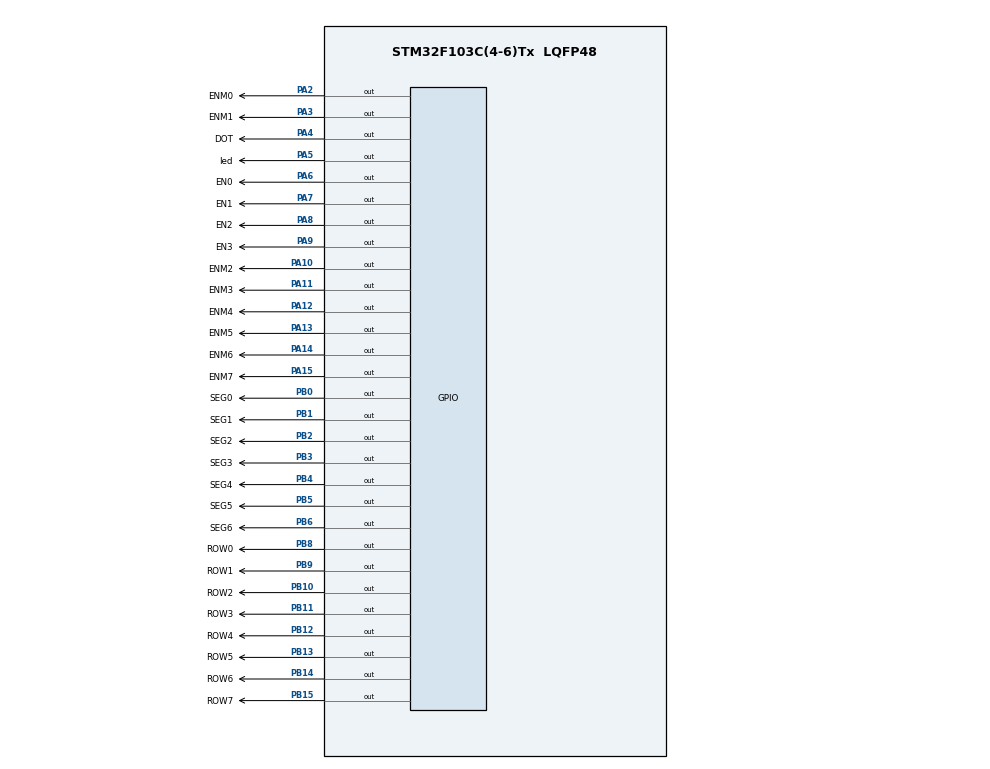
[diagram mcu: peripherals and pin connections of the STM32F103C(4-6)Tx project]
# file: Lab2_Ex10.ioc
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Mcu.Family=STM32F1
Mcu.Name=STM32F103C(4-6)Tx
Mcu.Package=LQFP48
NVIC.PriorityGroup=NVIC_PRIORITYGROUP_4
NVIC.TIM2_IRQn=true\:0\:0\:false\:false\:true\:true\:true
PA10.GPIO_Label=ENM2
PA10.Signal=GPIO_Output
PA11.GPIO_Label=ENM3
PA11.Signal=GPIO_Output
PA12.GPIO_Label=ENM4
PA12.Signal=GPIO_Output
PA13.GPIO_Label=ENM5
PA13.Signal=GPIO_Output
PA14.GPIO_Label=ENM6
PA14.Signal=GPIO_Output
PA15.GPIO_Label=ENM7
PA15.Signal=GPIO_Output
PA2.GPIO_Label=ENM0
PA2.Signal=GPIO_Output
PA3.GPIO_Label=ENM1
PA3.Signal=GPIO_Output
PA4.GPIO_Label=DOT
PA4.Signal=GPIO_Output
PA5.GPIO_Label=led
PA5.Signal=GPIO_Output
PA6.GPIO_Label=EN0
PA6.Signal=GPIO_Output
PA7.GPIO_Label=EN1
PA7.Signal=GPIO_Output
PA8.GPIO_Label=EN2
PA8.Signal=GPIO_Output
PA9.GPIO_Label=EN3
PA9.Signal=GPIO_Output
PB0.GPIO_Label=SEG0
PB0.Signal=GPIO_Output
PB1.GPIO_Label=SEG1
PB1.Signal=GPIO_Output
PB10.GPIO_Label=ROW2
PB10.Signal=GPIO_Output
PB11.GPIO_Label=ROW3
PB11.Signal=GPIO_Output
PB12.GPIO_Label=ROW4
PB12.Signal=GPIO_Output
PB13.GPIO_Label=ROW5
PB13.Signal=GPIO_Output
PB14.GPIO_Label=ROW6
PB14.Signal=GPIO_Output
PB15.GPIO_Label=ROW7
PB15.Signal=GPIO_Output
PB2.GPIO_Label=SEG2
PB2.Signal=GPIO_Output
PB3.GPIO_Label=SEG3
PB3.Signal=GPIO_Output
PB4.GPIO_Label=SEG4
PB4.Signal=GPIO_Output
PB5.GPIO_Label=SEG5
PB5.Signal=GPIO_Output
PB6.GPIO_Label=SEG6
PB6.Signal=GPIO_Output
PB8.GPIO_Label=ROW0
PB8.Signal=GPIO_Output
PB9.GPIO_Label=ROW1
PB9.Signal=GPIO_Output
ProjectManager.HeapSize=0x200
ProjectManager.StackSize=0x400
ProjectManager.TargetToolchain=STM32CubeIDE
RCC.APB1Freq_Value=8000000
RCC.APB2Freq_Value=8000000
TIM2.Period=1
TIM2.Prescaler=7999
VP_SYS_VS_ND.Mode=No_Debug
VP_TIM2_VS_ClockSourceINT.Mode=Internal
board=custom

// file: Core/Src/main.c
/* USER CODE BEGIN Header */
/**
  ******************************************************************************
  * @file           : main.c
  * @brief          : Main program body
  ******************************************************************************
  * @attention
  *
  * <h2><center>&copy; Copyright (c) 2021 STMicroelectronics.
  * All rights reserved.</center></h2>
  *
  * This software component is licensed by ST under BSD 3-Clause license,
  * the "License"; You may not use this file except in compliance with the
  * License. You may obtain a copy of the License at:
  *                        opensource.org/licenses/BSD-3-Clause
  *
  ******************************************************************************
  */
/* USER CODE END Header */
#include "main.h"

TIM_HandleTypeDef htim2;

void SystemClock_Config(void);
static void MX_GPIO_Init(void);
static void MX_TIM2_Init(void);

/* USER CODE BEGIN 0 */
const int MAX_LED_MATRIX = 8;
int index_led_matrix = 0;
int state = 0;
uint8_t matrix_buffer[8] = {0x01,0x01,0x01,0x01,0x01,0x01,0x01,0x01};
uint8_t matrix[46][8] = {
		//H - character
		{0x01,0x01,0x01,0x01,0x01,0x01,0x01,0x01},
		{0x02,0x02,0x02,0x03,0x02,0x02,0x02,0x02},
		{0x04,0x04,0x04,0x07,0x04,0x04,0x04,0x04},
		{0x08,0x08,0x08,0x0f,0x08,0x08,0x08,0x08},
		{0x10,0x10,0x10,0x1f,0x10,0x10,0x10,0x10},
		{0x21,0x21,0x21,0x3f,0x21,0x21,0x21,0x21},
		{0x42,0x42,0x42,0x7e,0x42,0x42,0x42,0x42},
		{0x84,0x84,0x84,0xfc,0x84,0x84,0x84,0x84},
		{0x08,0x08,0x08,0xf8,0x08,0x08,0x08,0x08},
		{0x10,0x10,0x10,0xf0,0x10,0x10,0x10,0x10},
		{0x20,0x20,0x20,0xe0,0x20,0x20,0x20,0x20},
		{0x40,0x40,0x40,0xc0,0x40,0x40,0x40,0x40},
		{0x81,0x81,0x81,0x81,0x81,0x81,0x81,0x81},//starting of P
		{0x03,0x02,0x02,0x02,0x03,0x02,0x02,0x02},
		{0x07,0x04,0x04,0x04,0x07,0x04,0x04,0x04},
		{0x0f,0x08,0x08,0x08,0x0f,0x08,0x08,0x08},
		{0x1e,0x11,0x11,0x11,0x1e,0x10,0x10,0x10},
		{0x3c,0x22,0x22,0x22,0x3c,0x20,0x20,0x20},
		{0x78,0x44,0x44,0x44,0x78,0x40,0x40,0x40},
		{0xf0,0x88,0x88,0x88,0xf0,0x80,0x80,0x80},
		{0xe0,0x10,0x10,0x10,0xe0,0x00,0x00,0x00},
		{0xc0,0x20,0x20,0x20,0xc0,0x00,0x00,0x00},
		{0x01,0x81,0x81,0x81,0x01,0x01,0x01,0x00},//starting of B
		{0x01,0x01,0x01,0x01,0x01,0x01,0x01,0x00},
		{0x03,0x02,0x02,0x03,0x02,0x02,0x03,0x00},
		{0x07,0x04,0x04,0x07,0x04,0x04,0x07,0x00},
		{0x0f,0x08,0x08,0x0f,0x08,0x08,0x0f,0x00},
		{0x1e,0x11,0x11,0x1e,0x11,0x11,0x1e,0x00},
		{0x3c,0x22,0x22,0x3c,0x22,0x22,0x3c,0x00},
		{0x78,0x44,0x44,0x78,0x44,0x44,0x78,0x00},
		{0xf0,0x88,0x88,0xf0,0x88,0x88,0xf0,0x00},
		{0xe0,0x10,0x10,0xe0,0x10,0x10,0xe0,0x00},
		{0xc0,0x20,0x20,0xc0,0x20,0x20,0xc0,0x00},
		{0x80,0x40,0x40,0x80,0x40,0x40,0x80,0x00},
		{0x01,0x81,0x81,0x01,0x81,0x81,0x01,0x01},//starting of D
		{0x03,0x02,0x02,0x02,0x02,0x02,0x02,0x03},
		{0x07,0x04,0x04,0x04,0x04,0x04,0x04,0x07},
		{0x0f,0x08,0x08,0x08,0x08,0x08,0x08,0x0f},
		{0x1e,0x11,0x10,0x10,0x10,0x10,0x11,0x1e},
		{0x3c,0x22,0x21,0x21,0x21,0x21,0x22,0x3c},
		{0x78,0x44,0x42,0x42,0x42,0x42,0x44,0x78},
		{0xf0,0x88,0x84,0x84,0x84,0x84,0x88,0xf0},
		{0xe0,0x10,0x08,0x08,0x08,0x08,0x10,0xe0},
		{0xc0,0x20,0x10,0x10,0x10,0x10,0x20,0xc0},
		{0x80,0x40,0x20,0x20,0x20,0x20,0x40,0x80},
		{0x00,0x80,0x40,0x40,0x40,0x40,0x80,0x00}
};

void selectCOL(int col){
	switch(col){
	case 0:
		 HAL_GPIO_WritePin(ENM0_GPIO_Port, ENM0_Pin, GPIO_PIN_RESET);
			break;
	case 1:
		 HAL_GPIO_WritePin(ENM1_GPIO_Port, ENM1_Pin, GPIO_PIN_RESET);
			break;
	case 2:
		 HAL_GPIO_WritePin(ENM2_GPIO_Port, ENM2_Pin, GPIO_PIN_RESET);
			break;
	case 3:
		 HAL_GPIO_WritePin(ENM3_GPIO_Port, ENM3_Pin, GPIO_PIN_RESET);
			break;
	case 4:
		 HAL_GPIO_WritePin(ENM4_GPIO_Port, ENM4_Pin, GPIO_PIN_RESET);
			break;
	case 5:
		 HAL_GPIO_WritePin(ENM5_GPIO_Port, ENM5_Pin, GPIO_PIN_RESET);
			break;
	case 6:
		 HAL_GPIO_WritePin(ENM6_GPIO_Port, ENM6_Pin, GPIO_PIN_RESET);
			break;
	case 7:
		 HAL_GPIO_WritePin(ENM7_GPIO_Port, ENM7_Pin, GPIO_PIN_RESET);
			break;
	default: break;
	}
}
void clearCOL(int col){
	switch(col){
		case 0:
			 HAL_GPIO_WritePin(ENM0_GPIO_Port, ENM0_Pin, GPIO_PIN_SET);
				break;
		case 1:
			 HAL_GPIO_WritePin(ENM1_GPIO_Port, ENM1_Pin, GPIO_PIN_SET);
				break;
		case 2:
			 HAL_GPIO_WritePin(ENM2_GPIO_Port, ENM2_Pin, GPIO_PIN_SET);
				break;
		case 3:
			 HAL_GPIO_WritePin(ENM3_GPIO_Port, ENM3_Pin, GPIO_PIN_SET);
				break;
		case 4:
			 HAL_GPIO_WritePin(ENM4_GPIO_Port, ENM4_Pin, GPIO_PIN_SET);
				break;
		case 5:
			 HAL_GPIO_WritePin(ENM5_GPIO_Port, ENM5_Pin, GPIO_PIN_SET);
				break;
		case 6:
			 HAL_GPIO_WritePin(ENM6_GPIO_Port, ENM6_Pin, GPIO_PIN_SET);
				break;
		case 7:
			 HAL_GPIO_WritePin(ENM7_GPIO_Port, ENM7_Pin, GPIO_PIN_SET);
				break;
		default: break;
		}
}

void displayDOT(uint8_t num, int row){
	switch(row){
	case 0:
			for(int i = 0; i<8; i++){
				if(num&0x80){
					selectCOL(i);
				}
				 num = num<<1;

			}
			HAL_GPIO_WritePin(ROW0_GPIO_Port, ROW0_Pin, GPIO_PIN_RESET);
			break;
	case 1:
		for(int i = 0; i<8; i++){
			if(num&0x80){
				selectCOL(i);
			}
			 num = num<<1;

		}
		HAL_GPIO_WritePin(ROW1_GPIO_Port, ROW1_Pin, GPIO_PIN_RESET);
			break;
	case 2:
		for(int i = 0; i<8; i++){
			if(num&0x80){
				selectCOL(i);
			}
			 num = num<<1;
		}
		HAL_GPIO_WritePin(ROW2_GPIO_Port, ROW2_Pin, GPIO_PIN_RESET);
			break;
	case 3:
		for(int i = 0; i<8; i++){
			if(num&0x80){
				selectCOL(i);
			}
			 num = num<<1;

		}
		HAL_GPIO_WritePin(ROW3_GPIO_Port, ROW3_Pin, GPIO_PIN_RESET);
			break;
	case 4:
		for(int i = 0; i<8; i++){
			if(num&0x80){
				selectCOL(i);
			}
			 num = num<<1;

		}
		HAL_GPIO_WritePin(ROW4_GPIO_Port, ROW4_Pin, GPIO_PIN_RESET);
			break;
	case 5:
		for(int i = 0; i<8; i++){
			if(num&0x80){
				selectCOL(i);
			}
			 num = num<<1;

		}
		HAL_GPIO_WritePin(ROW5_GPIO_Port, ROW5_Pin, GPIO_PIN_RESET);
			break;
	case 6:
		for(int i = 0; i<8; i++){
			if(num&0x80){
				selectCOL(i);
			}
			 num = num<<1;

		}
		HAL_GPIO_WritePin(ROW6_GPIO_Port, ROW6_Pin, GPIO_PIN_RESET);
			break;
	case 7:
		for(int i = 0; i<8; i++){
			if(num&0x80){
				selectCOL(i);
			}
			 num = num<<1;

		}
		HAL_GPIO_WritePin(ROW7_GPIO_Port, ROW7_Pin, GPIO_PIN_RESET);
			break;
	default: break;
	}
}
void updateMatrixBuffer(int state){
	matrix_buffer[0] = matrix[state][0];
	matrix_buffer[1] = matrix[state][1];
	matrix_buffer[2] = matrix[state][2];
	matrix_buffer[3] = matrix[state][3];
	matrix_buffer[4] = matrix[state][4];
	matrix_buffer[5] = matrix[state][5];
	matrix_buffer[6] = matrix[state][6];
	matrix_buffer[7] = matrix[state][7];
}
void updateLEDMatrix (int row) {
	 switch ( row ) {
		case 0:
			displayDOT(matrix_buffer[0],row);
			break ;
		 case 1:
			 displayDOT(matrix_buffer[1],row);
			 break ;
		case 2:
			displayDOT(matrix_buffer[2],row);
			break ;
		 case 3:
			 displayDOT(matrix_buffer[3],row);
			 break ;
		 case 4:
			 displayDOT(matrix_buffer[4],row);
			 break ;
		 case 5:
			 displayDOT(matrix_buffer[5],row);
			 break ;
		 case 6:
			 displayDOT(matrix_buffer[6],row);
			 break ;
		 case 7:
			 displayDOT(matrix_buffer[7],row);
			 break ;
		 default :
			 break ;
	 }
 }

void clearDOT(uint8_t num, int row){

	switch(row){
		case 0:
			HAL_GPIO_WritePin(ROW0_GPIO_Port, ROW0_Pin, GPIO_PIN_SET);
				for(int i = 0; i<8; i++){
					if(num&0x80){
						clearCOL(i);
					}
					 num = num<<1;

				}

				break;
		case 1:
			HAL_GPIO_WritePin(ROW1_GPIO_Port, ROW1_Pin, GPIO_PIN_SET);
			for(int i = 0; i<8; i++){
				if(num&0x80){
					clearCOL(i);
				}
				 num = num<<1;

			}

				break;
		case 2:
			HAL_GPIO_WritePin(ROW2_GPIO_Port, ROW2_Pin, GPIO_PIN_SET);
			for(int i = 0; i<8; i++){
				if(num&0x80){
					clearCOL(i);
				}
				 num = num<<1;
			}
			//HAL_GPIO_WritePin(ROW2_GPIO_Port, ROW2_Pin, GPIO_PIN_SET);
				break;
		case 3:
			HAL_GPIO_WritePin(ROW3_GPIO_Port, ROW3_Pin, GPIO_PIN_SET);
			for(int i = 0; i<8; i++){
				if(num&0x80){
					clearCOL(i);
				}
				 num = num<<1;

			}
			//HAL_GPIO_WritePin(ROW3_GPIO_Port, ROW3_Pin, GPIO_PIN_SET);
				break;
		case 4:
			HAL_GPIO_WritePin(ROW4_GPIO_Port, ROW4_Pin, GPIO_PIN_SET);
			for(int i = 0; i<8; i++){
				if(num&0x80){
					clearCOL(i);
				}
				 num = num<<1;

			}

				break;
		case 5:
			HAL_GPIO_WritePin(ROW5_GPIO_Port, ROW5_Pin, GPIO_PIN_SET);
			for(int i = 0; i<8; i++){
				if(num&0x80){
					clearCOL(i);
				}
				 num = num<<1;

			}

				break;
		case 6:
			HAL_GPIO_WritePin(ROW6_GPIO_Port, ROW6_Pin, GPIO_PIN_SET);
			for(int i = 0; i<8; i++){
				if(num&0x80){
					clearCOL(i);
				}
				 num = num<<1;

			}
			//HAL_GPIO_WritePin(ROW6_GPIO_Port, ROW6_Pin, GPIO_PIN_SET);
				break;
		case 7:
			HAL_GPIO_WritePin(ROW7_GPIO_Port, ROW7_Pin, GPIO_PIN_SET);
			for(int i = 0; i<8; i++){
				if(num&0x80){
					clearCOL(i);
				}
				 num = num<<1;

			}
			//HAL_GPIO_WritePin(ROW7_GPIO_Port, ROW7_Pin, GPIO_PIN_SET);
				break;
		default: break;
		}
}
void clearAllPins(){
	  HAL_GPIO_WritePin(ROW0_GPIO_Port, ROW0_Pin, GPIO_PIN_SET);
	  HAL_GPIO_WritePin(ROW1_GPIO_Port, ROW1_Pin, GPIO_PIN_SET);
	  HAL_GPIO_WritePin(ROW2_GPIO_Port, ROW2_Pin, GPIO_PIN_SET);
	  HAL_GPIO_WritePin(ROW3_GPIO_Port, ROW3_Pin, GPIO_PIN_SET);
	  HAL_GPIO_WritePin(ROW4_GPIO_Port, ROW4_Pin, GPIO_PIN_SET);
	  HAL_GPIO_WritePin(ROW5_GPIO_Port, ROW5_Pin, GPIO_PIN_SET);
	  HAL_GPIO_WritePin(ROW6_GPIO_Port, ROW6_Pin, GPIO_PIN_SET);
	  HAL_GPIO_WritePin(ROW7_GPIO_Port, ROW7_Pin, GPIO_PIN_SET);

	  HAL_GPIO_WritePin(ENM0_GPIO_Port, ENM0_Pin, GPIO_PIN_SET);
	  HAL_GPIO_WritePin(ENM1_GPIO_Port, ENM1_Pin, GPIO_PIN_SET);
	  HAL_GPIO_WritePin(ENM2_GPIO_Port, ENM2_Pin, GPIO_PIN_SET);
	  HAL_GPIO_WritePin(ENM3_GPIO_Port, ENM3_Pin, GPIO_PIN_SET);
	  HAL_GPIO_WritePin(ENM4_GPIO_Port, ENM4_Pin, GPIO_PIN_SET);
	  HAL_GPIO_WritePin(ENM5_GPIO_Port, ENM5_Pin, GPIO_PIN_SET);
	  HAL_GPIO_WritePin(ENM6_GPIO_Port, ENM6_Pin, GPIO_PIN_SET);
	  HAL_GPIO_WritePin(ENM7_GPIO_Port, ENM7_Pin, GPIO_PIN_SET);
}

int segcount = 0;
int timer0_counter = 0;
int timer0_flag = 0;
int timer1_flag = 0;
int TIMER_CYCLE = 1;
void setTimer0 ( int duration ) {
	 timer0_counter = duration / TIMER_CYCLE ;
	 timer0_flag = 0;
}

void timer_run () {
	 if( timer0_counter > 0) {
		 timer0_counter--;
		 if( timer0_counter == 0) timer0_flag = 1;
	 }
	 if( segcount > 0) {
	 		 segcount--;
	 		 if( segcount == 0) timer1_flag = 1;
	 	 }
	 if(timer2_counter>0){
		 timer2_couter--;
		 if(timer2_counter == 0) timer2_flag = 1;
	 }
 }

//SEGMENT 7 LED-------------------------------------------------------
void display7SEG(int num){
	switch(num){
	case 0:
		HAL_GPIO_WritePin(SEG0_GPIO_Port, SEG0_Pin, GPIO_PIN_RESET);
		HAL_GPIO_WritePin(SEG1_GPIO_Port, SEG1_Pin, GPIO_PIN_RESET);
		HAL_GPIO_WritePin(SEG2_GPIO_Port, SEG2_Pin, GPIO_PIN_RESET);
		HAL_GPIO_WritePin(SEG3_GPIO_Port, SEG3_Pin, GPIO_PIN_RESET);
		HAL_GPIO_WritePin(SEG4_GPIO_Port, SEG4_Pin, GPIO_PIN_RESET);
		HAL_GPIO_WritePin(SEG5_GPIO_Port, SEG5_Pin, GPIO_PIN_RESET);
		HAL_GPIO_WritePin(SEG6_GPIO_Port, SEG6_Pin, GPIO_PIN_SET);
		break;
	case 1:
		HAL_GPIO_WritePin(SEG0_GPIO_Port, SEG0_Pin, GPIO_PIN_SET);
		HAL_GPIO_WritePin(SEG1_GPIO_Port, SEG1_Pin, GPIO_PIN_RESET);
		HAL_GPIO_WritePin(SEG2_GPIO_Port, SEG2_Pin, GPIO_PIN_RESET);
		HAL_GPIO_WritePin(SEG3_GPIO_Port, SEG3_Pin, GPIO_PIN_SET);
		HAL_GPIO_WritePin(SEG4_GPIO_Port, SEG4_Pin, GPIO_PIN_SET);
		HAL_GPIO_WritePin(SEG5_GPIO_Port, SEG5_Pin, GPIO_PIN_SET);
		HAL_GPIO_WritePin(SEG6_GPIO_Port, SEG6_Pin, GPIO_PIN_SET);
		break;
	case 2:
		HAL_GPIO_WritePin(SEG0_GPIO_Port, SEG0_Pin, GPIO_PIN_RESET);
		HAL_GPIO_WritePin(SEG1_GPIO_Port, SEG1_Pin, GPIO_PIN_RESET);
		HAL_GPIO_WritePin(SEG2_GPIO_Port, SEG2_Pin, GPIO_PIN_SET);
		HAL_GPIO_WritePin(SEG3_GPIO_Port, SEG3_Pin, GPIO_PIN_RESET);
		HAL_GPIO_WritePin(SEG4_GPIO_Port, SEG4_Pin, GPIO_PIN_RESET);
		HAL_GPIO_WritePin(SEG5_GPIO_Port, SEG5_Pin, GPIO_PIN_SET);
		HAL_GPIO_WritePin(SEG6_GPIO_Port, SEG6_Pin, GPIO_PIN_RESET);
		break;
	case 3:
		HAL_GPIO_WritePin(SEG0_GPIO_Port, SEG0_Pin, GPIO_PIN_RESET);
		HAL_GPIO_WritePin(SEG1_GPIO_Port, SEG1_Pin, GPIO_PIN_RESET);
		HAL_GPIO_WritePin(SEG2_GPIO_Port, SEG2_Pin, GPIO_PIN_RESET);
		HAL_GPIO_WritePin(SEG3_GPIO_Port, SEG3_Pin, GPIO_PIN_RESET);
		HAL_GPIO_WritePin(SEG4_GPIO_Port, SEG4_Pin, GPIO_PIN_SET);
		HAL_GPIO_WritePin(SEG5_GPIO_Port, SEG5_Pin, GPIO_PIN_SET);
		HAL_GPIO_WritePin(SEG6_GPIO_Port, SEG6_Pin, GPIO_PIN_RESET);
		break;
	case 4:
		HAL_GPIO_WritePin(SEG0_GPIO_Port, SEG0_Pin, GPIO_PIN_SET);
		HAL_GPIO_WritePin(SEG1_GPIO_Port, SEG1_Pin, GPIO_PIN_RESET);
		HAL_GPIO_WritePin(SEG2_GPIO_Port, SEG2_Pin, GPIO_PIN_RESET);
		HAL_GPIO_WritePin(SEG3_GPIO_Port, SEG3_Pin, GPIO_PIN_SET);
		HAL_GPIO_WritePin(SEG4_GPIO_Port, SEG4_Pin, GPIO_PIN_SET);
		HAL_GPIO_WritePin(SEG5_GPIO_Port, SEG5_Pin, GPIO_PIN_RESET);
		HAL_GPIO_WritePin(SEG6_GPIO_Port, SEG6_Pin, GPIO_PIN_RESET);
		break;
	case 5:
		HAL_GPIO_WritePin(SEG0_GPIO_Port, SEG0_Pin, GPIO_PIN_RESET);
		HAL_GPIO_WritePin(SEG1_GPIO_Port, SEG1_Pin, GPIO_PIN_SET);
		HAL_GPIO_WritePin(SEG2_GPIO_Port, SEG2_Pin, GPIO_PIN_RESET);
		HAL_GPIO_WritePin(SEG3_GPIO_Port, SEG3_Pin, GPIO_PIN_RESET);
		HAL_GPIO_WritePin(SEG4_GPIO_Port, SEG4_Pin, GPIO_PIN_SET);
		HAL_GPIO_WritePin(SEG5_GPIO_Port, SEG5_Pin, GPIO_PIN_RESET);
		HAL_GPIO_WritePin(SEG6_GPIO_Port, SEG6_Pin, GPIO_PIN_RESET);
		break;
	case 6:
		HAL_GPIO_WritePin(SEG0_GPIO_Port, SEG0_Pin, GPIO_PIN_RESET);
		HAL_GPIO_WritePin(SEG1_GPIO_Port, SEG1_Pin, GPIO_PIN_SET);
		HAL_GPIO_WritePin(SEG2_GPIO_Port, SEG2_Pin, GPIO_PIN_RESET);
		HAL_GPIO_WritePin(SEG3_GPIO_Port, SEG3_Pin, GPIO_PIN_RESET);
		HAL_GPIO_WritePin(SEG4_GPIO_Port, SEG4_Pin, GPIO_PIN_RESET);
		HAL_GPIO_WritePin(SEG5_GPIO_Port, SEG5_Pin, GPIO_PIN_RESET);
		HAL_GPIO_WritePin(SEG6_GPIO_Port, SEG6_Pin, GPIO_PIN_RESET);
		break;
	case 7:
		HAL_GPIO_WritePin(SEG0_GPIO_Port, SEG0_Pin, GPIO_PIN_RESET);
		HAL_GPIO_WritePin(SEG1_GPIO_Port, SEG1_Pin, GPIO_PIN_RESET);
		HAL_GPIO_WritePin(SEG2_GPIO_Port, SEG2_Pin, GPIO_PIN_RESET);
		HAL_GPIO_WritePin(SEG3_GPIO_Port, SEG3_Pin, GPIO_PIN_SET);
		HAL_GPIO_WritePin(SEG4_GPIO_Port, SEG4_Pin, GPIO_PIN_SET);
		HAL_GPIO_WritePin(SEG5_GPIO_Port, SEG5_Pin, GPIO_PIN_SET);
		HAL_GPIO_WritePin(SEG6_GPIO_Port, SEG6_Pin, GPIO_PIN_SET);
		break;
	case 8:
		HAL_GPIO_WritePin(SEG0_GPIO_Port, SEG0_Pin, GPIO_PIN_RESET);
		HAL_GPIO_WritePin(SEG1_GPIO_Port, SEG1_Pin, GPIO_PIN_RESET);
		HAL_GPIO_WritePin(SEG2_GPIO_Port, SEG2_Pin, GPIO_PIN_RESET);
		HAL_GPIO_WritePin(SEG3_GPIO_Port, SEG3_Pin, GPIO_PIN_RESET);
		HAL_GPIO_WritePin(SEG4_GPIO_Port, SEG4_Pin, GPIO_PIN_RESET);
		HAL_GPIO_WritePin(SEG5_GPIO_Port, SEG5_Pin, GPIO_PIN_RESET);
		HAL_GPIO_WritePin(SEG6_GPIO_Port, SEG6_Pin, GPIO_PIN_RESET);
		break;
	case 9:
		HAL_GPIO_WritePin(SEG0_GPIO_Port, SEG0_Pin, GPIO_PIN_RESET);
		HAL_GPIO_WritePin(SEG1_GPIO_Port, SEG1_Pin, GPIO_PIN_RESET);
		HAL_GPIO_WritePin(SEG2_GPIO_Port, SEG2_Pin, GPIO_PIN_RESET);
		HAL_GPIO_WritePin(SEG3_GPIO_Port, SEG3_Pin, GPIO_PIN_RESET);
		HAL_GPIO_WritePin(SEG4_GPIO_Port, SEG4_Pin, GPIO_PIN_SET);
		HAL_GPIO_WritePin(SEG5_GPIO_Port, SEG5_Pin, GPIO_PIN_RESET);
		HAL_GPIO_WritePin(SEG6_GPIO_Port, SEG6_Pin, GPIO_PIN_RESET);
		break;
	}

}
const int MAX_LED = 4;
 int index_led = 0;
 int led_buffer[4] = {1 , 9 , 0 , 5};
 void setTimer1 ( int duration ) {
 	 segcount = duration / MAX_LED;
 	 timer1_flag = 0;
 }
 int timer2_flag = 0;
 int timer2_counter = 0;
 void setTimer2( int duration ){
	 timer2_counter = duration / TIMER_CYCLE;
  	 timer2_flag = 0;
  }
 void update7SEG ( int index ) {
 switch ( index ) {
	 case 0:
	 // Display the first 7 SEG with led_buffer [0]
		 HAL_GPIO_WritePin(EN0_GPIO_Port, EN0_Pin,  GPIO_PIN_RESET);
		 HAL_GPIO_WritePin(EN1_GPIO_Port, EN1_Pin,  GPIO_PIN_SET);
		 HAL_GPIO_WritePin(EN2_GPIO_Port, EN2_Pin,  GPIO_PIN_SET);
		 HAL_GPIO_WritePin(EN3_GPIO_Port, EN3_Pin,  GPIO_PIN_SET);
		 display7SEG(led_buffer[0]);
		 break ;
	 case 1:
	 // Display the second 7 SEG with led_buffer [1]
		 HAL_GPIO_WritePin(EN0_GPIO_Port, EN0_Pin,  GPIO_PIN_SET);
		 HAL_GPIO_WritePin(EN1_GPIO_Port, EN1_Pin,  GPIO_PIN_RESET);
		 HAL_GPIO_WritePin(EN2_GPIO_Port, EN2_Pin,  GPIO_PIN_SET);
		 HAL_GPIO_WritePin(EN3_GPIO_Port, EN3_Pin,  GPIO_PIN_SET);
		 display7SEG(led_buffer[1]);
		 break ;
	 case 2:
	 // Display the third 7 SEG with led_buffer [2]
		 HAL_GPIO_WritePin(EN0_GPIO_Port, EN0_Pin,  GPIO_PIN_SET);
		 HAL_GPIO_WritePin(EN1_GPIO_Port, EN1_Pin,  GPIO_PIN_SET);
		 HAL_GPIO_WritePin(EN2_GPIO_Port, EN2_Pin,  GPIO_PIN_RESET);
		 HAL_GPIO_WritePin(EN3_GPIO_Port, EN3_Pin,  GPIO_PIN_SET);
		 display7SEG(led_buffer[2]);
		 break ;
	 case 3:
	 // Display the forth 7 SEG with led_buffer [3]
		 HAL_GPIO_WritePin(EN0_GPIO_Port, EN0_Pin,  GPIO_PIN_SET);
		 HAL_GPIO_WritePin(EN1_GPIO_Port, EN1_Pin,  GPIO_PIN_SET);
		 HAL_GPIO_WritePin(EN2_GPIO_Port, EN2_Pin,  GPIO_PIN_SET);
		 HAL_GPIO_WritePin(EN3_GPIO_Port, EN3_Pin,  GPIO_PIN_RESET);
		 display7SEG(led_buffer[3]);
		 break ;
	 default :
		 break ;
	 }
 }

/* USER CODE END 0 */

int main(void)
{

  /* MCU Configuration--------------------------------------------------------*/

  /* Reset of all peripherals, Initializes the Flash interface and the Systick. */
  HAL_Init();

  /* Configure the system clock */
  SystemClock_Config();

  /* Initialize all configured peripherals */
  MX_GPIO_Init();
  MX_TIM2_Init();
  /* USER CODE BEGIN 2 */
  HAL_TIM_Base_Start_IT(&htim2);
  /* USER CODE END 2 */

  /* Infinite loop */
  /* USER CODE BEGIN WHILE */
  setTimer0(2);
  setTimer1(200);
    //int first = 1;
    clearAllPins();
  while (1)
  {
	  /*if(first == 1){
	  		  clearAllPins();
	  		  first = 0;
	  	  }*/

	  		  updateLEDMatrix(index_led_matrix);
	  		  if(timer0_flag==1){

	  			  clearDOT(matrix_buffer[index_led_matrix],index_led_matrix);
	  			  ++index_led_matrix;
	  			  if(index_led_matrix>8){
	  				  index_led_matrix = 0;
	  				  updateMatrixBuffer(state++);
	  				  if(state>45) state = 1;
	  			  }
	  			  setTimer0(2);
	  		  }

			  if(timer1_flag == 1){
				  /*HAL_GPIO_TogglePin ( led_GPIO_Port , led_Pin ) ;
					HAL_GPIO_TogglePin ( DOT_GPIO_Port , DOT_Pin ) ;*/
				update7SEG(index_led++);
				if(index_led>3) index_led=0;
				setTimer1(250);
			  }

			  if(timer2_flag == 1){
				  setTimer2(1000);
			  }
    /* USER CODE END WHILE */

  }
}

void SystemClock_Config(void)
{
  RCC_OscInitTypeDef RCC_OscInitStruct = {0};
  RCC_ClkInitTypeDef RCC_ClkInitStruct = {0};

  /** Initializes the RCC Oscillators according to the specified parameters
  * in the RCC_OscInitTypeDef structure.
  */
  RCC_OscInitStruct.OscillatorType = RCC_OSCILLATORTYPE_HSI;
  RCC_OscInitStruct.HSIState = RCC_HSI_ON;
  RCC_OscInitStruct.HSICalibrationValue = RCC_HSICALIBRATION_DEFAULT;
  RCC_OscInitStruct.PLL.PLLState = RCC_PLL_NONE;
  if (HAL_RCC_OscConfig(&RCC_OscInitStruct) != HAL_OK)
  {
    Error_Handler();
  }
  /** Initializes the CPU, AHB and APB buses clocks
  */
  RCC_ClkInitStruct.ClockType = RCC_CLOCKTYPE_HCLK|RCC_CLOCKTYPE_SYSCLK
                              |RCC_CLOCKTYPE_PCLK1|RCC_CLOCKTYPE_PCLK2;
  RCC_ClkInitStruct.SYSCLKSource = RCC_SYSCLKSOURCE_HSI;
  RCC_ClkInitStruct.AHBCLKDivider = RCC_SYSCLK_DIV1;
  RCC_ClkInitStruct.APB1CLKDivider = RCC_HCLK_DIV1;
  RCC_ClkInitStruct.APB2CLKDivider = RCC_HCLK_DIV1;

  if (HAL_RCC_ClockConfig(&RCC_ClkInitStruct, FLASH_LATENCY_0) != HAL_OK)
  {
    Error_Handler();
  }
}

static void MX_TIM2_Init(void)
{

  TIM_ClockConfigTypeDef sClockSourceConfig = {0};
  TIM_MasterConfigTypeDef sMasterConfig = {0};

  htim2.Instance = TIM2;
  htim2.Init.Prescaler = 7999;
  htim2.Init.CounterMode = TIM_COUNTERMODE_UP;
  htim2.Init.Period = 1;
  htim2.Init.ClockDivision = TIM_CLOCKDIVISION_DIV1;
  htim2.Init.AutoReloadPreload = TIM_AUTORELOAD_PRELOAD_DISABLE;
  if (HAL_TIM_Base_Init(&htim2) != HAL_OK)
  {
    Error_Handler();
  }
  sClockSourceConfig.ClockSource = TIM_CLOCKSOURCE_INTERNAL;
  if (HAL_TIM_ConfigClockSource(&htim2, &sClockSourceConfig) != HAL_OK)
  {
    Error_Handler();
  }
  sMasterConfig.MasterOutputTrigger = TIM_TRGO_RESET;
  sMasterConfig.MasterSlaveMode = TIM_MASTERSLAVEMODE_DISABLE;
  if (HAL_TIMEx_MasterConfigSynchronization(&htim2, &sMasterConfig) != HAL_OK)
  {
    Error_Handler();
  }

}

static void MX_GPIO_Init(void)
{
  GPIO_InitTypeDef GPIO_InitStruct = {0};

  /* GPIO Ports Clock Enable */
  __HAL_RCC_GPIOA_CLK_ENABLE();
  __HAL_RCC_GPIOB_CLK_ENABLE();

  /*Configure GPIO pin Output Level */
  HAL_GPIO_WritePin(GPIOA, ENM0_Pin|ENM1_Pin|DOT_Pin|led_Pin
                          |EN0_Pin|EN1_Pin|EN2_Pin|EN3_Pin
                          |ENM2_Pin|ENM3_Pin|ENM4_Pin|ENM5_Pin
                          |ENM6_Pin|ENM7_Pin, GPIO_PIN_RESET);

  /*Configure GPIO pin Output Level */
  HAL_GPIO_WritePin(GPIOB, SEG0_Pin|SEG1_Pin|SEG2_Pin|ROW2_Pin
                          |ROW3_Pin|ROW4_Pin|ROW5_Pin|ROW6_Pin
                          |ROW7_Pin|SEG3_Pin|SEG4_Pin|SEG5_Pin
                          |SEG6_Pin|ROW0_Pin|ROW1_Pin, GPIO_PIN_RESET);

  /*Configure GPIO pins : ENM0_Pin ENM1_Pin DOT_Pin led_Pin
                           EN0_Pin EN1_Pin EN2_Pin EN3_Pin
                           ENM2_Pin ENM3_Pin ENM4_Pin ENM5_Pin
                           ENM6_Pin ENM7_Pin */
  GPIO_InitStruct.Pin = ENM0_Pin|ENM1_Pin|DOT_Pin|led_Pin
                          |EN0_Pin|EN1_Pin|EN2_Pin|EN3_Pin
                          |ENM2_Pin|ENM3_Pin|ENM4_Pin|ENM5_Pin
                          |ENM6_Pin|ENM7_Pin;
  GPIO_InitStruct.Mode = GPIO_MODE_OUTPUT_PP;
  GPIO_InitStruct.Pull = GPIO_NOPULL;
  GPIO_InitStruct.Speed = GPIO_SPEED_FREQ_LOW;
  HAL_GPIO_Init(GPIOA, &GPIO_InitStruct);

  /*Configure GPIO pins : SEG0_Pin SEG1_Pin SEG2_Pin ROW2_Pin
                           ROW3_Pin ROW4_Pin ROW5_Pin ROW6_Pin
                           ROW7_Pin SEG3_Pin SEG4_Pin SEG5_Pin
                           SEG6_Pin ROW0_Pin ROW1_Pin */
  GPIO_InitStruct.Pin = SEG0_Pin|SEG1_Pin|SEG2_Pin|ROW2_Pin
                          |ROW3_Pin|ROW4_Pin|ROW5_Pin|ROW6_Pin
                          |ROW7_Pin|SEG3_Pin|SEG4_Pin|SEG5_Pin
                          |SEG6_Pin|ROW0_Pin|ROW1_Pin;
  GPIO_InitStruct.Mode = GPIO_MODE_OUTPUT_PP;
  GPIO_InitStruct.Pull = GPIO_NOPULL;
  GPIO_InitStruct.Speed = GPIO_SPEED_FREQ_LOW;
  HAL_GPIO_Init(GPIOB, &GPIO_InitStruct);

}

/* USER CODE BEGIN 4 */
void HAL_TIM_PeriodElapsedCallback ( TIM_HandleTypeDef * htim )
{
	timer_run () ;
 // YOUR OTHER CODE
}
/* USER CODE END 4 */

void Error_Handler(void)
{
  __disable_irq();
  while (1)
  {
  }
}

/************************ (C) COPYRIGHT STMicroelectronics *****END OF FILE****/
